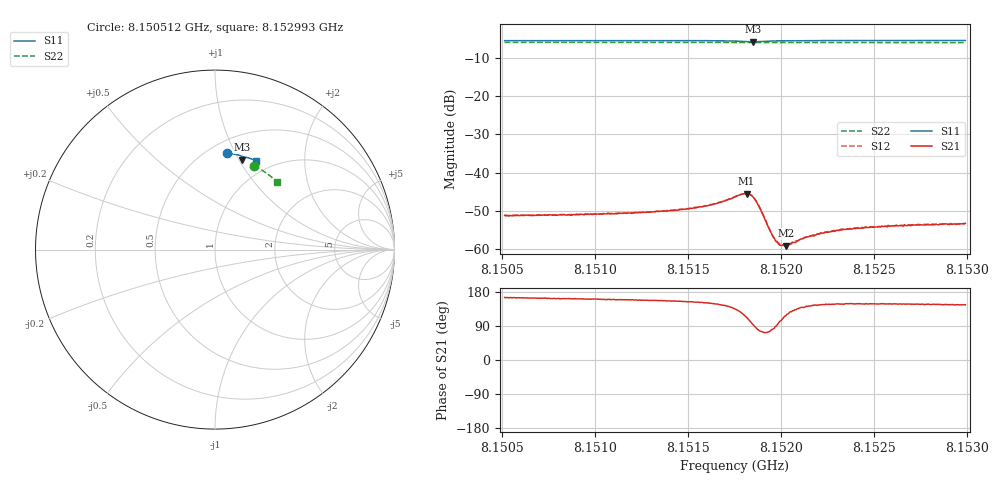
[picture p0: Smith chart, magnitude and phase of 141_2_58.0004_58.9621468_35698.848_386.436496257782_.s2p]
#  HZ  S  RI  R  50.00
! Rohde & Schwarz Vector Network Analyzer
! Rohde-Schwarz,ZNB20-2Port,1311601062101988,3.16
! Created: UTC 3/21/2024, 12:56:38 AM
! freq[Hz]  re:S11  im:S11  re:S21  im:S21  re:S12  im:S12  re:S22  im:S22
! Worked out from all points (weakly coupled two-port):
!   401 points, 8.150512 GHz to 8.152993 GHz, reference 50 ohm
!   highest |S21| = -45.53 dB at 8.151815 GHz (marker M1); lowest = -59.2 dB at 8.152026 GHz (marker M2)
!   lowest |S11| = -5.6 dB at 8.151852 GHz (marker M3), VSWR 3.20, Z = 37.4 + j51.6 ohm
!   |S11| at or under -10 dB: nowhere
!   |S22| runs from -5.8 to -5.8 dB; largest |S21 - S12| = 0.00013
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8.1505117e9  0.068 0.5372  -0.00263 0.000703  -0.00261 0.000755  0.2185 0.4663
8.1509274e9  0.0972 0.5335  -0.00268 0.000898  -0.00268 0.000983  0.2424 0.4538
8.1513431e9  0.1268 0.5275  -0.00283 0.0012  -0.0028 0.00127  0.2655 0.4401
8.1514299e9  0.1333 0.5259  -0.00291 0.00133  -0.00292 0.00137  0.2701 0.4371
8.1515726e9  0.1443 0.5225  -0.00312 0.00165  -0.00311 0.00173  0.2777 0.432
8.1516657e9  0.1521 0.5188  -0.00334 0.00221  -0.00333 0.00231  0.2827 0.4285
8.1517525e9  0.1593 0.5117  -0.00337 0.00339  -0.00331 0.00345  0.2873 0.4251
8.1517898e9  0.1603 0.5062  -0.00287 0.00432  -0.00284 0.00437  0.2891 0.4238
8.1518146e9  0.1587 0.5023  -0.00206 0.00488  -0.00195 0.00495  0.2902 0.4227
8.1518332e9  0.1556 0.5005  -0.00113 0.005  -0.00106 0.00508  0.2909 0.4219
8.1518518e9  0.152 0.5007  -0.000188 0.00471  -9.82e-05 0.00472  0.2917 0.4213
8.1518828e9  0.1486 0.5051  0.000742 0.00346  0.000788 0.00351  0.2933 0.4204
8.1519449e9  0.1527 0.5132  0.00035 0.00161  0.000369 0.0016  0.2965 0.4184
8.1519635e9  0.1549 0.5144  0.000153 0.00137  0.000137 0.00137  0.2977 0.4177
8.1519821e9  0.1569 0.5151  -9.3e-05 0.0012  -6.06e-05 0.00121  0.2986 0.417
8.1519945e9  0.1583 0.5152  -0.00023 0.00108  -0.000164 0.00112  0.2993 0.4165
8.1520255e9  0.1616 0.5156  -0.000484 0.000982  -0.000479 0.000992  0.3009 0.4152
8.1521682e9  0.1743 0.5141  -0.0012 0.000889  -0.0012 0.000867  0.3084 0.4099
8.1522303e9  0.1792 0.5129  -0.00133 0.000885  -0.0013 0.000919  0.3116 0.4074
8.1523233e9  0.186 0.5108  -0.00149 0.000943  -0.0015 0.000992  0.3162 0.4037
8.1525839e9  0.2041 0.5047  -0.00166 0.00105  -0.00168 0.00107  0.3289 0.393
8.1529934e9  0.2309 0.4939  -0.00178 0.0012  -0.00172 0.00124  0.3481 0.3751
